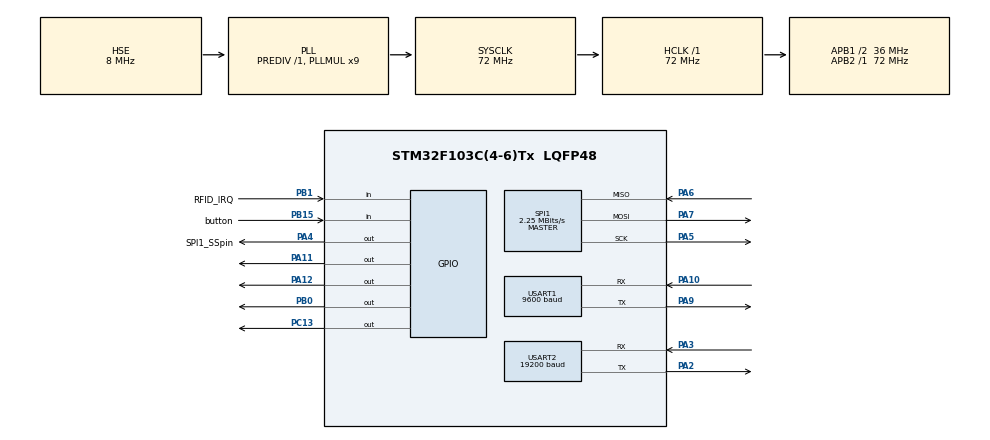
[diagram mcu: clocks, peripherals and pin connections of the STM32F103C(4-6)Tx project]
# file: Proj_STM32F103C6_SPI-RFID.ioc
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Mcu.Family=STM32F1
Mcu.Name=STM32F103C(4-6)Tx
Mcu.Package=LQFP48
NVIC.PriorityGroup=NVIC_PRIORITYGROUP_4
NVIC.TIM2_IRQn=true\:0\:0\:false\:false\:true\:true\:true\:true
NVIC.USART1_IRQn=true\:0\:0\:false\:false\:true\:true\:true\:true
NVIC.USART2_IRQn=true\:0\:0\:false\:false\:true\:true\:true\:true
PA10.Mode=Asynchronous
PA10.Signal=USART1_RX
PA11.Signal=GPIO_Output
PA12.Signal=GPIO_Output
PA13.Mode=Serial_Wire
PA13.Signal=SYS_JTMS-SWDIO
PA14.Mode=Serial_Wire
PA14.Signal=SYS_JTCK-SWCLK
PA2.Mode=Asynchronous
PA2.Signal=USART2_TX
PA3.Mode=Asynchronous
PA3.Signal=USART2_RX
PA4.GPIO_Label=SPI1_SSpin
PA4.Signal=GPIO_Output
PA5.Mode=Full_Duplex_Master
PA5.Signal=SPI1_SCK
PA6.Mode=Full_Duplex_Master
PA6.Signal=SPI1_MISO
PA7.Mode=Full_Duplex_Master
PA7.Signal=SPI1_MOSI
PA9.Mode=Asynchronous
PA9.Signal=USART1_TX
PB0.Signal=GPIO_Output
PB1.GPIO_Label=RFID_IRQ
PB1.Signal=GPIO_Input
PB15.GPIO_Label=button
PB15.Signal=GPIO_Input
PC13-TAMPER-RTC.PinState=GPIO_PIN_SET
PC13-TAMPER-RTC.Signal=GPIO_Output
PD0-OSC_IN.Mode=HSE-External-Oscillator
PD0-OSC_IN.Signal=RCC_OSC_IN
PD1-OSC_OUT.Mode=HSE-External-Oscillator
PD1-OSC_OUT.Signal=RCC_OSC_OUT
ProjectManager.HeapSize=0x200
ProjectManager.StackSize=0x400
ProjectManager.TargetToolchain=STM32CubeIDE
RCC.AHBFreq_Value=72000000
RCC.APB1CLKDivider=RCC_HCLK_DIV2
RCC.APB1Freq_Value=36000000
RCC.APB1TimFreq_Value=72000000
RCC.APB2Freq_Value=72000000
RCC.APB2TimFreq_Value=72000000
RCC.HCLKFreq_Value=72000000
RCC.PLLMUL=RCC_PLL_MUL9
RCC.PLLSourceVirtual=RCC_PLLSOURCE_HSE
RCC.SYSCLKFreq_VALUE=72000000
RCC.SYSCLKSource=RCC_SYSCLKSOURCE_PLLCLK
RCC.USBFreq_Value=72000000
SPI1.BaudRatePrescaler=SPI_BAUDRATEPRESCALER_32
SPI1.CalculateBaudRate=2.25 MBits/s
SPI1.Direction=SPI_DIRECTION_2LINES
SPI1.FirstBit=SPI_FIRSTBIT_LSB
SPI1.Mode=SPI_MODE_MASTER
SPI1.VirtualType=VM_MASTER
TIM2.Period=1999
TIM2.Prescaler=720
USART1.BaudRate=9600
USART1.VirtualMode=VM_ASYNC
USART2.BaudRate=19200
USART2.VirtualMode=VM_ASYNC
VP_TIM2_VS_ClockSourceINT.Mode=Internal
board=custom

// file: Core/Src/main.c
/* USER CODE BEGIN Header */
/**
  ******************************************************************************
  * @file           : main.c
  * @brief          : Main program body
  ******************************************************************************
  * @attention
  *
  * Copyright (c) 2022 STMicroelectronics.
  * All rights reserved.
  *
  * This software is licensed under terms that can be found in the LICENSE file
  * in the root directory of this software component.
  * If no LICENSE file comes with this software, it is provided AS-IS.
  *
  ******************************************************************************
  */
/* USER CODE END Header */
#include "main.h"

/* USER CODE BEGIN Includes */
#include <stdio.h>
#include <string.h>
#include "pn532_stm32f1.h"
/* USER CODE END Includes */

/* USER CODE BEGIN PTD */
/*
 * SS = PA4
 * SCK= PA5
 * MISO = PA6
 * MOSI = PA7
 */

/* USER CODE END PTD */

/* USER CODE BEGIN PD */
#define use_HEXADECIMAL
/* USER CODE END PD */

SPI_HandleTypeDef hspi1;

TIM_HandleTypeDef htim2;

UART_HandleTypeDef huart1;
UART_HandleTypeDef huart2;

/* USER CODE BEGIN PV */

//data uid
uint8_t buff[255];
uint8_t uid[MIFARE_UID_MAX_LENGTH];
int32_t uid_len = 0;

char buffer[50];
uint8_t timer_count = 0, buffer_index = 0;
/* USER CODE END PV */

void SystemClock_Config(void);
static void MX_GPIO_Init(void);
static void MX_SPI1_Init(void);
static void MX_TIM2_Init(void);
static void MX_USART2_UART_Init(void);
static void MX_USART1_UART_Init(void);

/* USER CODE BEGIN 0 */
uint8_t string_compare(char array1[], char array2[], uint16_t length)
{
	 uint8_t comVAR=0, i;
	 for(i=0;i<length;i++)
	   	{
	   		  if(array1[i]==array2[i])
	   	  		  comVAR++;
	   	  	  else comVAR=0;
	   	}
	 if (comVAR==length)
		 	return 1;
	 else 	return 0;
}

void Message_handler()
{
	if(string_compare(buffer, "LED ON", strlen("LED ON")))
	{
		HAL_GPIO_WritePin(GPIOC, GPIO_PIN_13, RESET);
		HAL_UART_Transmit(&huart2, (uint8_t*)"LED is ON.\n", strlen("LED is ON.\n"), 500);
	}else
	if(string_compare(buffer, "LED OFF", strlen("LED OFF")))
	{
		HAL_GPIO_WritePin(GPIOC, GPIO_PIN_13, SET);
		HAL_UART_Transmit(&huart2, (uint8_t*)"LED is OFF.\n", strlen("LED is OFF.\n"), 500);
	}else
	{
		strcat(buffer, "\n");
		HAL_UART_Transmit(&huart2, (uint8_t*)buffer, strlen(buffer), 500);
	}

	memset(buffer, 0, sizeof(buffer));
	buffer_index = 0;
	timer_count = 0;
}

/* USER CODE END 0 */

int main(void)
{

  /* MCU Configuration--------------------------------------------------------*/

  /* Reset of all peripherals, Initializes the Flash interface and the Systick. */
  HAL_Init();

  /* Configure the system clock */
  SystemClock_Config();

  /* Initialize all configured peripherals */
  MX_GPIO_Init();
  MX_SPI1_Init();
  MX_TIM2_Init();
  MX_USART2_UART_Init();
  MX_USART1_UART_Init();
  /* USER CODE BEGIN 2 */
//  HAL_Delay(200);
////    memset(buffer, 0, sizeof(buffer));
//    HAL_TIM_Base_Start_IT(&htim2);
//    __HAL_UART_ENABLE_IT(&huart1, UART_IT_RXNE);
//
//    PN532_SPI_Init(&pn532);
//    if (PN532_GetFirmwareVersion(&pn532, buff) != PN532_STATUS_OK)
//    {
//      while(1)
//      {
//      	HAL_GPIO_WritePin(GPIOC, GPIO_PIN_13, SET);
//      	HAL_Delay(250);
//      	HAL_GPIO_WritePin(GPIOC, GPIO_PIN_13, RESET);
//      	HAL_Delay(250);
//      }
//    }
//    PN532_SamConfiguration(&pn532);

  printf("Hello!\r\n");
  PN532 pn532;
  PN532_SPI_Init(&pn532);
  //PN532_I2C_Init(&pn532);
  PN532_GetFirmwareVersion(&pn532, buff);
  if (PN532_GetFirmwareVersion(&pn532, buff) == PN532_STATUS_OK) {
    printf("Found PN532 with firmware version: %d.%d\r\n", buff[1], buff[2]);
  } else {
    return -1;
  }
  PN532_SamConfiguration(&pn532);
  printf("Waiting for RFID/NFC card...\r\n");

  /* USER CODE END 2 */

  /* Infinite loop */
  while (1)
  {

    /* USER CODE BEGIN 3 */
//	  	memset(uid, 0, sizeof(uid));
//	    uid_len = PN532_ReadPassiveTarget(&pn532, uid, PN532_MIFARE_ISO14443A, 1000);
//	    if (uid_len != PN532_STATUS_ERROR)
//	    {
//	    	HAL_GPIO_WritePin(GPIOC, GPIO_PIN_13, RESET);
//	    	memset(buffer, 0, sizeof(buffer));
//	    	char stringForHex[5];
//	    	for(uint8_t i=0; i<uid_len; i++)
//	    	{
//	    		memset(stringForHex, 0, sizeof(stringForHex));
//				#ifdef use_HEXADECIMAL
//	    		sprintf(stringForHex, "%02X ", (unsigned char)uid[i]);
//				#else
//	    		sprintf(stringForHex, "%d ", (unsigned char)uid[i]);
//				#endif
//	    		strcat(buffer, stringForHex);
//	    	}
//	    	buffer[strlen(buffer)-1] = '\n';
//	    	HAL_UART_Transmit(&huart1, (uint8_t*)buffer, strlen(buffer), 500);
//	    	HAL_GPIO_WritePin(GPIOC, GPIO_PIN_13, SET);
//	    	HAL_Delay(1000);
//	    }
	    // Check if a card is available to read
	    uid_len = PN532_ReadPassiveTarget(&pn532, uid, PN532_MIFARE_ISO14443A, 1000);
	    if (uid_len == PN532_STATUS_ERROR) {
	      printf(".");
	    } else {
	      printf("Found card with UID: ");
	      for (uint8_t i = 0; i < uid_len; i++) {
	        printf("%02x ", uid[i]);
	        HAL_GPIO_WritePin(GPIOC, GPIO_PIN_13, SET);
	        HAL_Delay(250);
	        HAL_GPIO_WritePin(GPIOC, GPIO_PIN_13, RESET);
	        HAL_Delay(250);
	      }
	      printf("\r\n");
	    }
  }
  /* USER CODE END 3 */
}

void SystemClock_Config(void)
{
  RCC_OscInitTypeDef RCC_OscInitStruct = {0};
  RCC_ClkInitTypeDef RCC_ClkInitStruct = {0};

  /** Initializes the RCC Oscillators according to the specified parameters
  * in the RCC_OscInitTypeDef structure.
  */
  RCC_OscInitStruct.OscillatorType = RCC_OSCILLATORTYPE_HSE;
  RCC_OscInitStruct.HSEState = RCC_HSE_ON;
  RCC_OscInitStruct.HSEPredivValue = RCC_HSE_PREDIV_DIV1;
  RCC_OscInitStruct.HSIState = RCC_HSI_ON;
  RCC_OscInitStruct.PLL.PLLState = RCC_PLL_ON;
  RCC_OscInitStruct.PLL.PLLSource = RCC_PLLSOURCE_HSE;
  RCC_OscInitStruct.PLL.PLLMUL = RCC_PLL_MUL9;
  if (HAL_RCC_OscConfig(&RCC_OscInitStruct) != HAL_OK)
  {
    Error_Handler();
  }

  /** Initializes the CPU, AHB and APB buses clocks
  */
  RCC_ClkInitStruct.ClockType = RCC_CLOCKTYPE_HCLK|RCC_CLOCKTYPE_SYSCLK
                              |RCC_CLOCKTYPE_PCLK1|RCC_CLOCKTYPE_PCLK2;
  RCC_ClkInitStruct.SYSCLKSource = RCC_SYSCLKSOURCE_PLLCLK;
  RCC_ClkInitStruct.AHBCLKDivider = RCC_SYSCLK_DIV1;
  RCC_ClkInitStruct.APB1CLKDivider = RCC_HCLK_DIV2;
  RCC_ClkInitStruct.APB2CLKDivider = RCC_HCLK_DIV1;

  if (HAL_RCC_ClockConfig(&RCC_ClkInitStruct, FLASH_LATENCY_2) != HAL_OK)
  {
    Error_Handler();
  }
}

static void MX_SPI1_Init(void)
{

  /* SPI1 parameter configuration*/
  hspi1.Instance = SPI1;
  hspi1.Init.Mode = SPI_MODE_MASTER;
  hspi1.Init.Direction = SPI_DIRECTION_2LINES;
  hspi1.Init.DataSize = SPI_DATASIZE_8BIT;
  hspi1.Init.CLKPolarity = SPI_POLARITY_LOW;
  hspi1.Init.CLKPhase = SPI_PHASE_1EDGE;
  hspi1.Init.NSS = SPI_NSS_SOFT;
  hspi1.Init.BaudRatePrescaler = SPI_BAUDRATEPRESCALER_32;
  hspi1.Init.FirstBit = SPI_FIRSTBIT_LSB;
  hspi1.Init.TIMode = SPI_TIMODE_DISABLE;
  hspi1.Init.CRCCalculation = SPI_CRCCALCULATION_DISABLE;
  hspi1.Init.CRCPolynomial = 10;
  if (HAL_SPI_Init(&hspi1) != HAL_OK)
  {
    Error_Handler();
  }

}

static void MX_TIM2_Init(void)
{

  TIM_ClockConfigTypeDef sClockSourceConfig = {0};
  TIM_MasterConfigTypeDef sMasterConfig = {0};

  htim2.Instance = TIM2;
  htim2.Init.Prescaler = 720;
  htim2.Init.CounterMode = TIM_COUNTERMODE_UP;
  htim2.Init.Period = 1999;
  htim2.Init.ClockDivision = TIM_CLOCKDIVISION_DIV1;
  htim2.Init.AutoReloadPreload = TIM_AUTORELOAD_PRELOAD_DISABLE;
  if (HAL_TIM_Base_Init(&htim2) != HAL_OK)
  {
    Error_Handler();
  }
  sClockSourceConfig.ClockSource = TIM_CLOCKSOURCE_INTERNAL;
  if (HAL_TIM_ConfigClockSource(&htim2, &sClockSourceConfig) != HAL_OK)
  {
    Error_Handler();
  }
  sMasterConfig.MasterOutputTrigger = TIM_TRGO_RESET;
  sMasterConfig.MasterSlaveMode = TIM_MASTERSLAVEMODE_DISABLE;
  if (HAL_TIMEx_MasterConfigSynchronization(&htim2, &sMasterConfig) != HAL_OK)
  {
    Error_Handler();
  }

}

static void MX_USART1_UART_Init(void)
{

  huart1.Instance = USART1;
  huart1.Init.BaudRate = 9600;
  huart1.Init.WordLength = UART_WORDLENGTH_8B;
  huart1.Init.StopBits = UART_STOPBITS_1;
  huart1.Init.Parity = UART_PARITY_NONE;
  huart1.Init.Mode = UART_MODE_TX_RX;
  huart1.Init.HwFlowCtl = UART_HWCONTROL_NONE;
  huart1.Init.OverSampling = UART_OVERSAMPLING_16;
  if (HAL_UART_Init(&huart1) != HAL_OK)
  {
    Error_Handler();
  }

}

static void MX_USART2_UART_Init(void)
{

  huart2.Instance = USART2;
  huart2.Init.BaudRate = 19200;
  huart2.Init.WordLength = UART_WORDLENGTH_8B;
  huart2.Init.StopBits = UART_STOPBITS_1;
  huart2.Init.Parity = UART_PARITY_NONE;
  huart2.Init.Mode = UART_MODE_TX_RX;
  huart2.Init.HwFlowCtl = UART_HWCONTROL_NONE;
  huart2.Init.OverSampling = UART_OVERSAMPLING_16;
  if (HAL_UART_Init(&huart2) != HAL_OK)
  {
    Error_Handler();
  }

}

static void MX_GPIO_Init(void)
{
  GPIO_InitTypeDef GPIO_InitStruct = {0};

  /* GPIO Ports Clock Enable */
  __HAL_RCC_GPIOC_CLK_ENABLE();
  __HAL_RCC_GPIOD_CLK_ENABLE();
  __HAL_RCC_GPIOA_CLK_ENABLE();
  __HAL_RCC_GPIOB_CLK_ENABLE();

  /*Configure GPIO pin Output Level */
  HAL_GPIO_WritePin(GPIOC, GPIO_PIN_13, GPIO_PIN_SET);

  /*Configure GPIO pin Output Level */
  HAL_GPIO_WritePin(GPIOA, SPI1_SSpin_Pin|GPIO_PIN_11|GPIO_PIN_12, GPIO_PIN_RESET);

  /*Configure GPIO pin Output Level */
  HAL_GPIO_WritePin(GPIOB, GPIO_PIN_0, GPIO_PIN_RESET);

  /*Configure GPIO pin : PC13 */
  GPIO_InitStruct.Pin = GPIO_PIN_13;
  GPIO_InitStruct.Mode = GPIO_MODE_OUTPUT_PP;
  GPIO_InitStruct.Pull = GPIO_NOPULL;
  GPIO_InitStruct.Speed = GPIO_SPEED_FREQ_LOW;
  HAL_GPIO_Init(GPIOC, &GPIO_InitStruct);

  /*Configure GPIO pins : SPI1_SSpin_Pin PA11 PA12 */
  GPIO_InitStruct.Pin = SPI1_SSpin_Pin|GPIO_PIN_11|GPIO_PIN_12;
  GPIO_InitStruct.Mode = GPIO_MODE_OUTPUT_PP;
  GPIO_InitStruct.Pull = GPIO_NOPULL;
  GPIO_InitStruct.Speed = GPIO_SPEED_FREQ_LOW;
  HAL_GPIO_Init(GPIOA, &GPIO_InitStruct);

  /*Configure GPIO pin : PB0 */
  GPIO_InitStruct.Pin = GPIO_PIN_0;
  GPIO_InitStruct.Mode = GPIO_MODE_OUTPUT_PP;
  GPIO_InitStruct.Pull = GPIO_NOPULL;
  GPIO_InitStruct.Speed = GPIO_SPEED_FREQ_LOW;
  HAL_GPIO_Init(GPIOB, &GPIO_InitStruct);

  /*Configure GPIO pins : RFID_IRQ_Pin button_Pin */
  GPIO_InitStruct.Pin = RFID_IRQ_Pin|button_Pin;
  GPIO_InitStruct.Mode = GPIO_MODE_INPUT;
  GPIO_InitStruct.Pull = GPIO_NOPULL;
  HAL_GPIO_Init(GPIOB, &GPIO_InitStruct);

}

/* USER CODE BEGIN 4 */
#ifdef __GNUC__
  /* With GCC/RAISONANCE, small printf (option LD Linker->Libraries->Small printf
     set to 'Yes') calls __io_putchar() */
  #define PUTCHAR_PROTOTYPE int __io_putchar(int ch)
#else
  #define PUTCHAR_PROTOTYPE int fputc(int ch, FILE *f)
#endif /* __GNUC__ */
/**
  * @brief  Retargets the C library printf function to the USART.
  * @param  None
  * @retval None
  */
PUTCHAR_PROTOTYPE
{
  /* Place your implementation of fputc here */
  /* e.g. write a character to the EVAL_COM1 and Loop until the end of transmission */
	HAL_UART_Transmit(&huart2, (uint8_t *)&ch, 1, 0xFFFF);
  return ch;
}

/* USER CODE END 4 */

void Error_Handler(void)
{
  __disable_irq();
  while (1)
  {
  }
}
